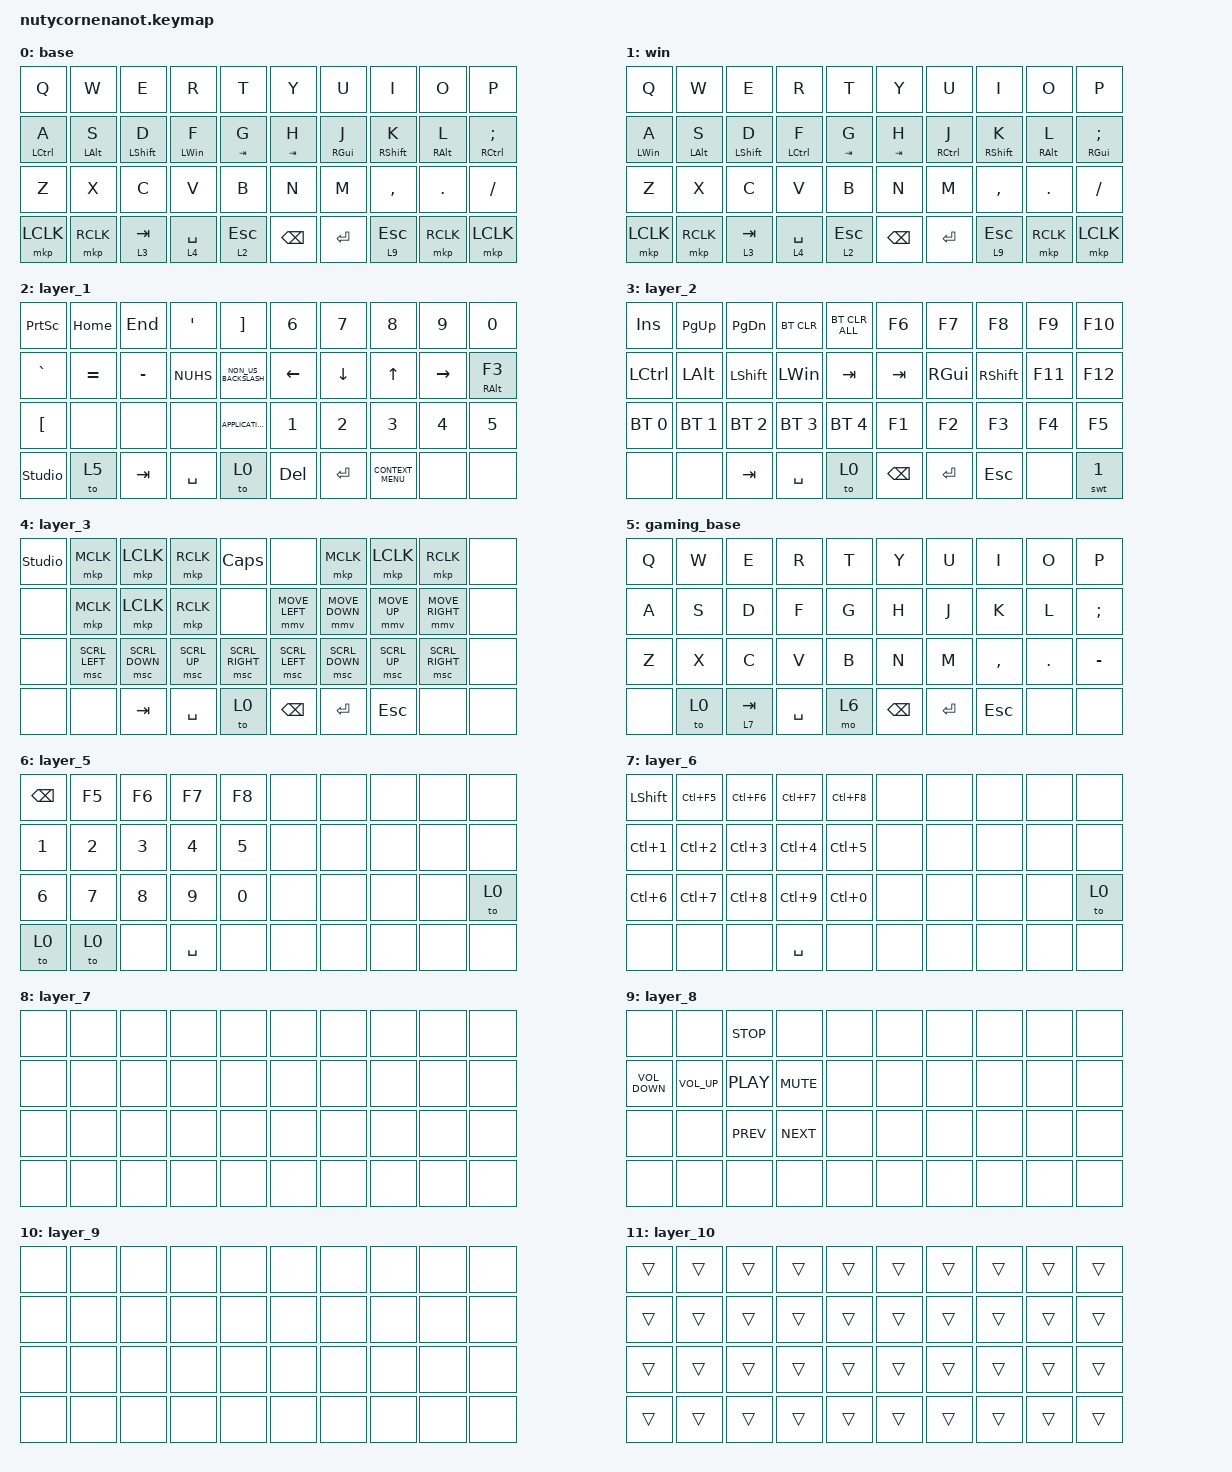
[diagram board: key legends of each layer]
/*
 * Copyright (c) 2020 The ZMK Contributors
 * 
 * SPDX-License-Identifier: MIT
 */

#define ZMK_POINTING_DEFAULT_MOVE_VAL 800  // default: 600
#define ZMK_POINTING_DEFAULT_SCRL_VAL 400    // default: 20

#include <dt-bindings/zmk/input_transform.h>
#include <zephyr/dt-bindings/input/input-event-codes.h>
#include <behaviors.dtsi>
#include <dt-bindings/zmk/bt.h>
#include <dt-bindings/zmk/keys.h>
#include <dt-bindings/zmk/pointing.h>

&mmv { acceleration-exponent = <0>; };

&glidepoint_rh_listener { input-processors = <&zip_xy_scaler 2 1>; };

&glidepoint_rh_listener {
    scroller {
        //layers = <1 3>;

        layers = <2>;
        input-processors =
            <&zip_xy_to_scroll_mapper>,
            <&zip_scroll_scaler (-1) 1>;
    };
};

/ {
    behaviors {
        hm: homerow_mods {
            compatible = "zmk,behavior-hold-tap";
            #binding-cells = <2>;
            tapping-term-ms = <150>;
            flavor = "tap-preferred";
            require-prior-idle-ms = <125>;
            bindings = <&kp>, <&kp>;
        };

        swt: switch {
            compatible = "zmk,behavior-toggle-layer";
            #binding-cells = <1>;
            display-name = "SWITCH";
            toggle-mode = "on";
        };
    };

    combos {
        compatible = "zmk,combos";

        esc {
            bindings = <&kp ESCAPE>;
            key-positions = <0 1>;
        };
    };

    keymap {
        compatible = "zmk,keymap";

        base {
            bindings = <
  &kp Q           &kp W           &kp E             &kp R        &kp T         &kp Y          &kp U        &kp I              &kp O            &kp P
  &hm LCTRL A     &hm LEFT_ALT S  &hm LEFT_SHIFT D  &hm LEFT_WIN F  &hm TAB G   &hm TAB H      &hm RIGHT_GUI J  &hm RIGHT_SHIFT K  &hm RIGHT_ALT L  &hm RCTRL SEMI
  &kp Z           &kp X           &kp C             &kp V        &kp B         &kp N          &kp M        &kp COMMA          &kp DOT          &kp FSLH
  &mkp LCLK       &mkp RCLK       &lt 3 TAB         &lt 4 SPACE  &lt 2 ESCAPE  &kp BACKSPACE  &kp ENTER    &lt 9 ESCAPE       &mkp RCLK        &mkp LCLK
            >;
        };

        win {
            bindings = <
  &kp Q           &kp W           &kp E             &kp R        &kp T         &kp Y          &kp U        &kp I              &kp O            &kp P
  &hm LEFT_WIN A  &hm LEFT_ALT S  &hm LEFT_SHIFT D  &hm LCTRL F  &hm TAB G     &hm TAB H      &hm RCTRL J  &hm RIGHT_SHIFT K  &hm RIGHT_ALT L  &hm RIGHT_GUI SEMI
  &kp Z           &kp X           &kp C             &kp V        &kp B         &kp N          &kp M        &kp COMMA          &kp DOT          &kp FSLH
  &mkp LCLK       &mkp RCLK       &lt 3 TAB         &lt 4 SPACE  &lt 2 ESCAPE  &kp BACKSPACE  &kp ENTER    &lt 9 ESCAPE       &mkp RCLK        &mkp LCLK
            >;
        };

        layer_1 {
            bindings = <
  &kp PRINTSCREEN   &kp HOME   &kp END    &kp APOS   &kp RBKT              &kp N6      &kp N7     &kp N8              &kp N9     &kp N0
  &kp GRAVE         &kp EQUAL  &kp MINUS  &kp NUHS   &kp NON_US_BACKSLASH  &kp LEFT    &kp DOWN   &kp UP              &kp RIGHT  &hm RIGHT_ALT F3
  &kp LEFT_BRACKET  &none      &none      &none      &kp K_APPLICATION     &kp N1      &kp N2     &kp N3              &kp N4     &kp N5
  &studio_unlock    &to 5      &kp TAB    &kp SPACE  &to 0                 &kp DELETE  &kp ENTER  &kp K_CONTEXT_MENU  &none      &none
            >;
        };

        layer_2 {
            bindings = <
  &kp INSERT    &kp PG_UP     &kp PG_DN       &bt BT_CLR        &bt BT_CLR_ALL  &kp F6         &kp F7     &kp F8   &kp F9   &kp F10
  &kp LEFT_CONTROL  &kp LEFT_ALT  &kp LEFT_SHIFT  &kp LEFT_WIN  &kp TAB       &kp TAB        &kp RIGHT_GUI  &kp RIGHT_SHIFT  &kp F11  &kp F12
  &bt BT_SEL 0  &bt BT_SEL 1  &bt BT_SEL 2    &bt BT_SEL 3      &bt BT_SEL 4    &kp F1         &kp F2     &kp F3   &kp F4   &kp F5
  &none         &none         &kp TAB         &kp SPACE         &to 0           &kp BACKSPACE  &kp ENTER  &kp ESC  &none    &swt 1
            >;
        };

        layer_3 {
            bindings = <
  &studio_unlock  &mkp MCLK       &mkp LCLK       &mkp RCLK     &kp CAPS         &none           &mkp MCLK       &mkp LCLK     &mkp RCLK        &none
  &none           &mkp MCLK       &mkp LCLK       &mkp RCLK     &none            &mmv MOVE_LEFT  &mmv MOVE_DOWN  &mmv MOVE_UP  &mmv MOVE_RIGHT  &none
  &none           &msc SCRL_LEFT  &msc SCRL_DOWN  &msc SCRL_UP  &msc SCRL_RIGHT  &msc SCRL_LEFT  &msc SCRL_DOWN  &msc SCRL_UP  &msc SCRL_RIGHT  &none
  &none           &none           &kp TAB         &kp SPACE     &to 0            &kp BACKSPACE   &kp ENTER       &kp ESC       &none            &none
            >;
        };

        gaming_base {
            bindings = <
  &kp Q  &kp W  &kp E      &kp R      &kp T  &kp Y          &kp U      &kp I       &kp O       &kp P
  &kp A  &kp S  &kp D      &kp F      &kp G  &kp H          &kp J      &kp K       &kp L       &kp SEMICOLON
  &kp Z  &kp X  &kp C      &kp V      &kp B  &kp N          &kp M      &kp COMMA   &kp PERIOD  &kp MINUS
  &none  &to 0  &lt 7 TAB  &kp SPACE  &mo 6  &kp BACKSPACE  &kp ENTER  &kp ESCAPE  &none       &none
            >;
        };

        layer_5 {
            bindings = <
  &kp BACKSPACE  &kp F5        &kp F6        &kp F7        &kp F8  &none  &none  &none  &none  &none
  &kp NUMBER_1   &kp NUMBER_2  &kp NUMBER_3  &kp NUMBER_4  &kp N5  &none  &none  &none  &none  &none
  &kp NUMBER_6   &kp N7        &kp N8        &kp N9        &kp N0  &none  &none  &none  &none  &to 0
  &to 0          &to 0         &none         &kp SPACE     &none   &none  &none  &none  &none  &none
            >;
        };

        layer_6 {
            bindings = <
  &kp LEFT_SHIFT    &kp LC(F5)        &kp LC(F6)        &kp LC(F7)        &kp LC(F8)  &none  &none  &none  &none  &none
  &kp LC(NUMBER_1)  &kp LC(NUMBER_2)  &kp LC(NUMBER_3)  &kp LC(NUMBER_4)  &kp LC(N5)  &none  &none  &none  &none  &none
  &kp LC(NUMBER_6)  &kp LC(N7)        &kp LC(N8)        &kp LC(N9)        &kp LC(N0)  &none  &none  &none  &none  &to 0
  &none             &none             &none             &kp SPACE         &none       &none  &none  &none  &none  &none
            >;
        };

        layer_7 {
            bindings = <
  &none  &none  &none  &none  &none  &none  &none  &none  &none  &none
  &none  &none  &none  &none  &none  &none  &none  &none  &none  &none
  &none  &none  &none  &none  &none  &none  &none  &none  &none  &none
  &none  &none  &none  &none  &none  &none  &none  &none  &none  &none
            >;
        };

        layer_8 {
            bindings = <
  &none              &none            &kp C_STOP  &none       &none  &none  &none  &none  &none  &none
  &kp C_VOLUME_DOWN  &kp C_VOLUME_UP  &kp C_PLAY  &kp C_MUTE  &none  &none  &none  &none  &none  &none
  &none              &none            &kp C_PREV  &kp C_NEXT  &none  &none  &none  &none  &none  &none
  &none              &none            &none       &none       &none  &none  &none  &none  &none  &none
            >;
        };

        layer_9 {
            bindings = <
  &none  &none  &none  &none  &none  &none  &none  &none  &none  &none
  &none  &none  &none  &none  &none  &none  &none  &none  &none  &none
  &none  &none  &none  &none  &none  &none  &none  &none  &none  &none
  &none  &none  &none  &none  &none  &none  &none  &none  &none  &none
            >;
        };

        layer_10 {
            bindings = <
  &trans  &trans  &trans  &trans  &trans  &trans  &trans  &trans  &trans  &trans
  &trans  &trans  &trans  &trans  &trans  &trans  &trans  &trans  &trans  &trans
  &trans  &trans  &trans  &trans  &trans  &trans  &trans  &trans  &trans  &trans
  &trans  &trans  &trans  &trans  &trans  &trans  &trans  &trans  &trans  &trans
            >;
        };
    };
};
